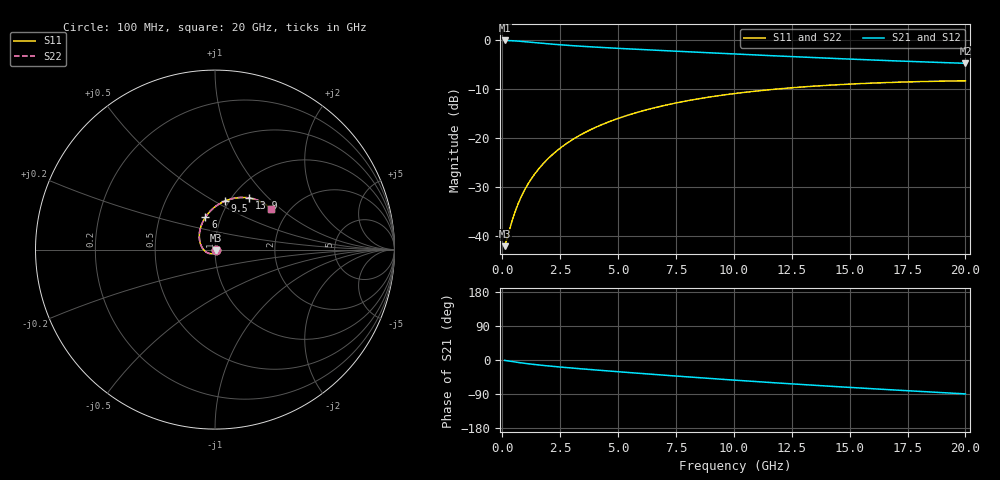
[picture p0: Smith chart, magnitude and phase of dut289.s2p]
! Touchstone file exported from HFSS 2024.1.0
!  File:  C:/UserFiles/LocalFiles/RDL_TSV_Batchsim/temp_RDL_TSV_289_1779466930.aedt
!  Generated:  12:34:08 AM May 23, 2026
!  Design:  RDL_TSV
!  Project:  temp_RDL_TSV_289_1779466930
!  Setup:  Setup1
!  Solution:  Sweep
! Variables:
!  dtsv = 14.7um
!  hbump = 3um
!  htsv = 50.52um
!  ldown = 205.14um
!  lrdl = 112.72um
!  p = 40
!  p1 = 54.64um
!  rhole = 10um
!  subl = 1066.3um
!  t = 450um
!  tdown = 2.32um
!  trdl = 4.6um
!  viad = 10um
!  wdown = 17.91um
!  wrdl = 22.84um
!  xbump = 18um
# GHz S MA R 50.000000
! Terminal data exported
! Port[1] = TM1_1_T1
! Port[2] = TM1_4_T1
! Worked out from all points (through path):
!   200 points, 100 MHz to 20 GHz, reference 50 ohm
!   highest |S21| = -0.07 dB at 100 MHz (marker M1); lowest = -4.7 dB at 20 GHz (marker M2)
!   group delay of S21, straight-line fit = 11.7 ps
!   lowest |S11| = -42.0 dB at 100 MHz (marker M3), VSWR 1.02, Z = 50.7 - j0.368 ohm
!   |S11| at or under -10 dB: start of sweep to 11.81 GHz
!   |S22| runs from -42.0 to -8.3 dB; largest |S21 - S12| = 2.3e-14
!   S11 on the Smith chart (normalised r, x): 100 MHz: 1.01, -0.01; 6 GHz: 0.84, +0.32; 9.5 GHz: 0.95, +0.56; 13.9 GHz: 1.19, +0.78; 20 GHz: 1.62, +0.86
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0.1  0.007909 -27.3  0.9922 -1.0  0.9922 -1.0  0.007909 -27.3
! Gamma 0 0 0 0
! Port Impedance 50 0 50 0
0.2  0.009368 -49.9  0.9911 -2.0  0.9911 -2.0  0.009368 -49.9
0.4  0.01377 -80.8  0.9867 -3.9  0.9867 -3.9  0.01377 -80.9
0.5  0.01634 -92.0  0.9836 -4.8  0.9836 -4.8  0.01634 -92.0
0.7  0.02185 -110.0  0.9761 -6.6  0.9761 -6.6  0.02185 -110.0
1  0.03067 -131.0  0.9627 -9.1  0.9627 -9.1  0.03068 -131.0
1.3  0.03994 -148.1  0.9484 -11.3  0.9484 -11.3  0.03995 -148.1
1.7  0.05274 -166.7  0.9296 -13.9  0.9296 -13.9  0.05277 -166.8
2.2  0.06916 174.6  0.908 -16.9  0.908 -16.9  0.0692 174.6
2.8  0.08901 157.2  0.8855 -20.2  0.8855 -20.2  0.08909 157.1
3.5  0.1119 141.5  0.8632 -23.7  0.8632 -23.7  0.112 141.4
4.6  0.1468 123.2  0.8339 -29.1  0.8339 -29.1  0.1469 123.2
6  0.1882 106.4  0.802 -35.6  0.802 -35.6  0.1884 106.4
6.8  0.2103 98.8  0.7851 -39.2  0.7851 -39.2  0.2105 98.8
8.1  0.2433 88.3  0.7589 -45.0  0.7589 -45.0  0.2436 88.3
9.5  0.2745 78.8  0.732 -51.0  0.732 -51.0  0.2749 78.9
10.1  0.2864 75.2  0.7209 -53.4  0.7209 -53.4  0.2869 75.3
11.7  0.3145 66.6  0.6925 -59.9  0.6925 -59.9  0.315 66.6
13.4  0.3385 58.7  0.6645 -66.4  0.6645 -66.4  0.339 58.7
13.9  0.3445 56.6  0.6568 -68.3  0.6568 -68.3  0.345 56.6
16.7  0.3698 46.0  0.6175 -78.3  0.6175 -78.3  0.3704 46.0
20  0.3848 35.9  0.5803 -89.4  0.5803 -89.4  0.3854 35.9
